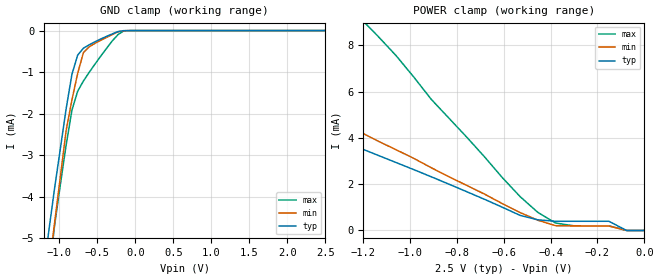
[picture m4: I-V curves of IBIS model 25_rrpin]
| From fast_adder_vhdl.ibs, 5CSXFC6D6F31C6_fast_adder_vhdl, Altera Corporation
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[Model]   25_rrpin
Model_type  Input
Polarity   Non-Inverting
Vinl   = 0.700
Vinh   = 1.700
C_comp 4.66pF   4.66pF   4.66pF
[Temperature Range] 25   85   0
[Voltage Range] 2.500   2.325   2.750
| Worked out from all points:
|   GND clamp passes 1 mA (typ) near -0.82 V on its own axis
|   POWER clamp passes 1 mA (typ) near -0.61 V on its own axis
[GND Clamp]
| voltage   I (typ)   I (min)   I (max)
-2.5V     -26.61mA   -26.97mA   -29.91mA
-1.136V   -4.811mA   -5.729mA   -5.912mA
-1.061V   -3.788mA   -4.62mA    -4.684mA
-909.1mV  -1.882mA   -2.402mA   -2.755mA
-833.3mV  -1.055mA   -1.672mA   -1.917mA
-757.6mV  -590.5uA   -1.03mA    -1.46mA
-681.8mV  -423.9uA   -530.6uA   -1.214mA
-606.1mV  -342.5uA   -391.5uA   -1.005mA
-303mV    -80.96uA   -96.17uA   -250uA
-227.3mV  -23.98uA   -30.38uA   -97.65uA
-151.5mV  -2.012uA   -3.885uA   -6.513uA
2.5V      0A         0A         0A
[POWER Clamp]
| voltage   I (typ)   I (min)   I (max)
-2.5V     8.704mA    11.28mA    31.47mA
-2.046V   6.871mA    8.568mA    22.71mA
-1.97V    6.569mA    8.267mA    21.25mA
-1.212V   3.556mA    4.258mA    9.178mA
-1.136V   3.248mA    3.863mA    8.395mA
-909.1mV  2.321mA    2.712mA    5.667mA
-530.3mV  653.5uA    774.6uA    1.465mA
-454.6mV  460.5uA    443uA      782.7uA
-378.8mV  397.6uA    206.4uA    321.1uA
-151.5mV  397.6uA    194.6uA    199.7uA
-75.76mV  0A         0A         0A
0V        0A         0A         0A
